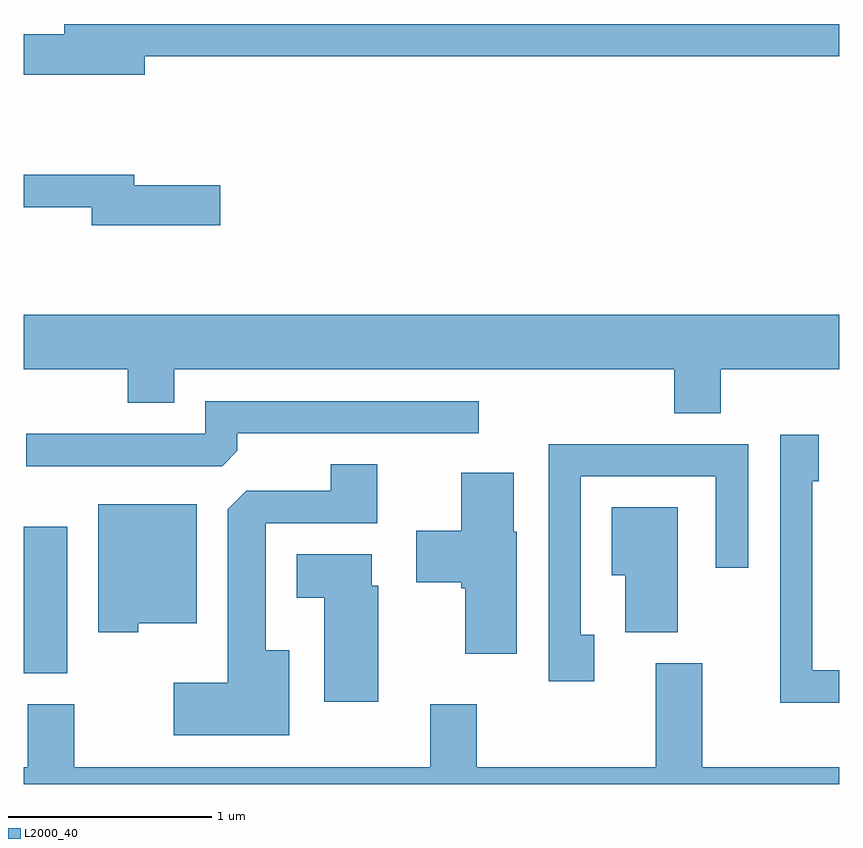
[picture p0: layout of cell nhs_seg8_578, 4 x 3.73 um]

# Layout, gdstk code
import gdstk
lib = gdstk.Library(unit=1e-6, precision=1e-09)
def R(c, l, rs):  # rectangles x0, y0, x1, y1
    for r in rs: c.add(gdstk.rectangle(r[:2], r[2:], *l))
def P(c, l, *ps):  # polygons
    for p in ps: c.add(gdstk.Polygon(p, *l))
L2000_40 = (2000, 40)

nhs_seg8_578 = lib.new_cell('nhs_seg8_578')
R(nhs_seg8_578, L2000_40, [(201.611,1874.886,201.824,1875.604)])
P(nhs_seg8_578, L2000_40, [(202.204,1877.911),(205.611,1877.911),(205.611,1878.069),(201.811,1878.069),(201.811,1878.019),(201.611,1878.019),(201.611,1877.821),(202.204,1877.821)],
  [(202.574,1877.279),(202.154,1877.279),(202.154,1877.329),(201.611,1877.329),(201.611,1877.171),(201.946,1877.171),(201.946,1877.081),(202.574,1877.081)],
  [(205.029,1876.376),(205.611,1876.376),(205.611,1876.644),(201.611,1876.644),(201.611,1876.376),(202.121,1876.376),(202.121,1876.211),(202.349,1876.211),(202.349,1876.376),(204.801,1876.376),(204.801,1876.161),(205.029,1876.161)],
  [(202.659,1875.977),(202.659,1876.061),(203.843,1876.061),(203.843,1876.219),(202.501,1876.219),(202.501,1876.059),(201.623,1876.059),(201.623,1875.901),(202.584,1875.901)],
  [(205.611,1874.899),(205.479,1874.899),(205.479,1875.826),(205.509,1875.826),(205.509,1876.054),(205.321,1876.054),(205.321,1874.741),(205.611,1874.741)],
  [(204.409,1875.074),(204.344,1875.074),(204.344,1875.851),(205.006,1875.851),(205.006,1875.403),(205.164,1875.403),(205.164,1876.009),(204.186,1876.009),(204.186,1874.846),(204.409,1874.846)],
  [(202.914,1874.999),(202.799,1874.999),(202.799,1875.621),(203.344,1875.621),(203.344,1875.909),(203.116,1875.909),(203.116,1875.779),(202.702,1875.779),(202.611,1875.689),(202.611,1874.839),(202.346,1874.839),(202.346,1874.581),(202.914,1874.581)],
  [(204.029,1875.58),(204.014,1875.58),(204.014,1875.869),(203.756,1875.869),(203.756,1875.584),(203.536,1875.584),(203.536,1875.331),(203.756,1875.331),(203.756,1875.301),(203.776,1875.301),(203.776,1874.981),(204.029,1874.981)],
  [(202.174,1875.131),(202.459,1875.131),(202.459,1875.714),(201.976,1875.714),(201.976,1875.086),(202.174,1875.086)],
  [(204.819,1875.699),(204.496,1875.699),(204.496,1875.366),(204.561,1875.366),(204.561,1875.086),(204.819,1875.086)],
  [(203.349,1875.314),(203.319,1875.314),(203.319,1875.469),(202.951,1875.469),(202.951,1875.256),(203.086,1875.256),(203.086,1874.746),(203.349,1874.746)],
  [(205.611,1874.424),(204.939,1874.424),(204.939,1874.934),(204.711,1874.934),(204.711,1874.424),(203.834,1874.424),(203.834,1874.734),(203.606,1874.734),(203.606,1874.424),(201.859,1874.424),(201.859,1874.734),(201.631,1874.734),(201.631,1874.424),(201.611,1874.424),(201.611,1874.342),(205.611,1874.342)])

lib.write_gds('nhs_seg8_578.gds')
